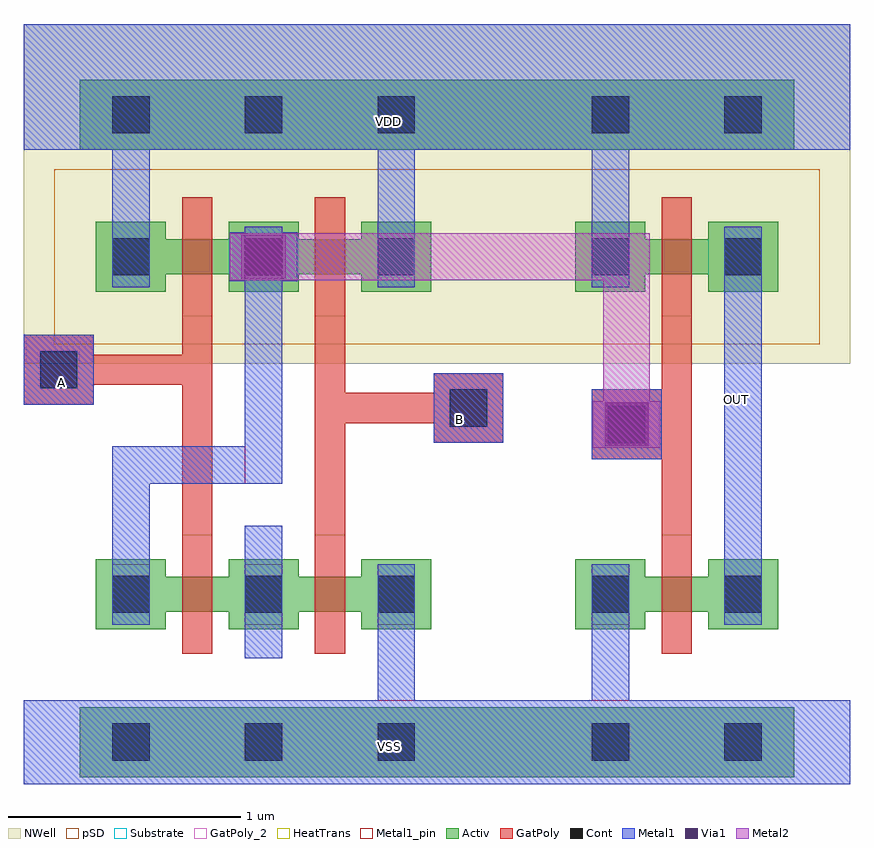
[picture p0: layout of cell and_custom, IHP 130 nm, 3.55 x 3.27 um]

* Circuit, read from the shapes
.subckt and_custom A B OUT VDD VSS
XM1 n1 A nand_custom_0/OUT VSS sg13_lv_nmos w=0.15u l=0.13u
XM2 VSS B n1 VSS sg13_lv_nmos w=0.15u l=0.13u
XM3 OUT nand_custom_0/OUT VSS VSS sg13_lv_nmos w=0.15u l=0.13u
XM4 nand_custom_0/OUT A VDD VDD sg13_lv_pmos w=0.15u l=0.13u
XM5 VDD B nand_custom_0/OUT VDD sg13_lv_pmos w=0.15u l=0.13u
XM6 OUT nand_custom_0/OUT VDD VDD sg13_lv_pmos w=0.15u l=0.13u
.ends

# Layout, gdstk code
from math import pi, radians
import gdstk
lib = gdstk.Library(unit=1e-6, precision=5e-09)
def R(c, l, rs):  # rectangles x0, y0, x1, y1
    for r in rs: c.add(gdstk.rectangle(r[:2], r[2:], *l))
def A(c, l, x, y, w, h, nx, ny, dx, dy):  # array of equal rectangles
    R(c, l, [(x+i*dx, y+j*dy, x+i*dx+w, y+j*dy+h) for i in range(nx) for j in range(ny)])
Activ = (1, 0)
GatPoly = (5, 0)
GatPoly_2 = (5, 2)
Cont = (6, 0)
Metal1 = (8, 0)
Metal1_pin = (8, 2)
Metal2 = (10, 0)
pSD = (14, 0)
Via1 = (19, 0)
NWell = (31, 0)
Substrate = (40, 0)
HeatTrans = (51, 0)

pmos = lib.new_cell('pmos')
R(pmos, Activ, [(0,0,0.3,0.3), (0.57,0,0.87,0.3), (0,0.075,0.87,0.225)])
R(pmos, GatPoly, [(0.37,-0.105,0.5,0.405), (0.37,-0.105,0.5,0.405)])
R(pmos, Cont, [(0.07,0.07,0.23,0.23), (0.64,0.07,0.8,0.23)])
R(pmos, Metal1, [(0.07,0.02,0.23,0.28), (0.07,0.02,0.23,0.28), (0.64,0.02,0.8,0.28), (0.64,0.02,0.8,0.28)])
R(pmos, pSD, [(-0.18,-0.225,1.05,0.525)])
R(pmos, NWell, [(-0.31,-0.31,1.18,0.61)])
R(pmos, Substrate, [(0.57,0,0.87,0.3)])
R(pmos, HeatTrans, [(0.37,-0.105,0.5,0.405)])
pmos.add(gdstk.Label('pmos', (0.435,0.15), layer=63, texttype=0))
pmos.add(gdstk.Label('pmos', (0.435,0.15), layer=51, texttype=0))

nmos = lib.new_cell('nmos')
R(nmos, Activ, [(0,0,0.3,0.3), (0.57,0,0.87,0.3), (0,0.075,0.87,0.225)])
R(nmos, GatPoly, [(0.37,-0.105,0.5,0.405)])
R(nmos, GatPoly_2, [(0.37,-0.105,0.5,0.405)])
R(nmos, Cont, [(0.07,0.07,0.23,0.23), (0.64,0.07,0.8,0.23)])
R(nmos, Metal1, [(0.07,0.02,0.23,0.28), (0.64,0.02,0.8,0.28)])
R(nmos, Metal1_pin, [(0.07,0.02,0.23,0.28), (0.64,0.02,0.8,0.28)])
R(nmos, HeatTrans, [(0.37,-0.105,0.5,0.405)])
nmos.add(gdstk.Label('nmos', (0.435,0.15), layer=63, texttype=0))
nmos.add(gdstk.Label('nmos', (0.435,0.15), layer=51, texttype=0))

nand_custom = lib.new_cell('nand_custom')
R(nand_custom, Activ, [(0.39,0.165,1.97,0.465), (0.39,2.86,1.97,3.16)])
R(nand_custom, GatPoly, [(0.83,0.695,0.96,2.655), (1.4,0.695,1.53,2.655), (1.91,1.6,2.21,1.9), (1.53,1.685,1.91,1.815), (0.15,1.765,0.45,2.065), (0.45,1.85,0.83,1.98)])
A(nand_custom, Cont, 0.53, 0.235, 0.16, 0.16, 3, 2, 0.57, 2.695)
R(nand_custom, Cont, [(1.98,1.67,2.14,1.83), (0.22,1.835,0.38,1.995)])
R(nand_custom, Metal1, [(0.15,0.135,2.21,0.495), (1.67,0.165,1.83,1.08), (1.1,0.675,1.26,1.245), (0.53,0.82,0.69,1.585), (0.53,1.425,1.26,1.585), (1.1,1.425,1.26,2.53), (1.91,1.6,2.21,1.9), (0.15,1.765,0.45,2.065), (0.53,2.27,0.69,3.16), (1.67,2.27,1.83,3.16), (0.15,2.86,2.21,3.4)])
R(nand_custom, Metal1_pin, [(0.15,0.135,2.21,0.495), (1.1,1.425,1.26,2.53), (1.91,1.6,2.21,1.9), (0.15,1.765,0.45,2.065), (0.15,2.86,2.21,3.4)])
R(nand_custom, pSD, [(0.15,0.135,2.21,0.495)])
R(nand_custom, NWell, [(0.15,2.86,2.21,3.4)])
nand_custom.add(gdstk.Reference(pmos, (0.46,2.25)))
nand_custom.add(gdstk.Reference(nmos, (1.03,0.8)))
nand_custom.add(gdstk.Reference(pmos, (1.9,2.25), rotation=pi, x_reflection=True))
nand_custom.add(gdstk.Reference(nmos, (1.33,0.8), rotation=pi, x_reflection=True))
nand_custom.add(gdstk.Label('VDD', (0.575,2.975), layer=8, texttype=25))
nand_custom.add(gdstk.Label('VSS', (1.705,0.28), layer=8, texttype=25))
nand_custom.add(gdstk.Label('OUT', (1.13,1.75), layer=8, texttype=25))
nand_custom.add(gdstk.Label('A', (0.28,1.855), layer=8, texttype=25))
nand_custom.add(gdstk.Label('B', (2.06,1.75), layer=8, texttype=25))

pmos_1 = lib.new_cell('pmos$1')
R(pmos_1, Activ, [(0,0,0.3,0.3), (0.57,0,0.87,0.3), (0,0.075,0.87,0.225)])
R(pmos_1, GatPoly, [(0.37,-0.105,0.5,0.405), (0.37,-0.105,0.5,0.405)])
R(pmos_1, Cont, [(0.07,0.07,0.23,0.23), (0.64,0.07,0.8,0.23)])
R(pmos_1, Metal1, [(0.07,0.02,0.23,0.28), (0.07,0.02,0.23,0.28), (0.64,0.02,0.8,0.28), (0.64,0.02,0.8,0.28)])
R(pmos_1, pSD, [(-0.18,-0.225,1.05,0.525)])
R(pmos_1, NWell, [(-0.31,-0.31,1.18,0.61)])
R(pmos_1, Substrate, [(0.57,0,0.87,0.3)])
R(pmos_1, HeatTrans, [(0.37,-0.105,0.5,0.405)])
pmos_1.add(gdstk.Label('pmos', (0.435,0.15), layer=63, texttype=0))
pmos_1.add(gdstk.Label('pmos', (0.435,0.15), layer=51, texttype=0))

nmos_1 = lib.new_cell('nmos$1')
R(nmos_1, Activ, [(0,0,0.3,0.3), (0.57,0,0.87,0.3), (0,0.075,0.87,0.225)])
R(nmos_1, GatPoly, [(0.37,-0.105,0.5,0.405)])
R(nmos_1, GatPoly_2, [(0.37,-0.105,0.5,0.405)])
R(nmos_1, Cont, [(0.07,0.07,0.23,0.23), (0.64,0.07,0.8,0.23)])
R(nmos_1, Metal1, [(0.07,0.02,0.23,0.28), (0.64,0.02,0.8,0.28)])
R(nmos_1, Metal1_pin, [(0.07,0.02,0.23,0.28), (0.64,0.02,0.8,0.28)])
R(nmos_1, HeatTrans, [(0.37,-0.105,0.5,0.405)])
nmos_1.add(gdstk.Label('nmos', (0.435,0.15), layer=63, texttype=0))
nmos_1.add(gdstk.Label('nmos', (0.435,0.15), layer=51, texttype=0))

inv = lib.new_cell('inv')
R(inv, Activ, [(0.48,-0.04,1.49,0.26), (0.48,2.655,1.49,2.955)])
R(inv, GatPoly, [(0.92,0.76,1.05,2.45), (0.62,1.325,0.92,1.625)])
R(inv, Cont, [(0.62,0.03,0.78,0.19), (1.19,0.03,1.35,0.19), (0.69,1.395,0.85,1.555), (0.62,2.725,0.78,2.885), (1.19,2.725,1.35,2.885)])
R(inv, Metal1, [(0.24,-0.07,1.73,0.29), (0.62,-0.04,0.78,0.875), (1.19,0.615,1.35,2.325), (0.62,1.325,0.92,1.625), (0.62,2.065,0.78,2.955), (0.24,2.655,1.73,3.195)])
R(inv, Metal1_pin, [(0.24,-0.07,1.73,0.29), (1.19,0.615,1.35,2.325), (0.62,1.325,0.92,1.625), (0.24,2.655,1.73,3.195)])
R(inv, pSD, [(0.24,-0.07,1.73,0.29)])
R(inv, NWell, [(0.24,2.655,1.73,3.195)])
inv.add(gdstk.Reference(pmos_1, (0.55,2.045)))
inv.add(gdstk.Reference(nmos_1, (0.55,0.595)))
inv.add(gdstk.Label('VSS', (0.64,0.09), layer=8, texttype=25))
inv.add(gdstk.Label('VDD', (0.675,2.805), layer=8, texttype=25))
inv.add(gdstk.Label('VIN', (0.73,1.475), layer=8, texttype=25))
inv.add(gdstk.Label('VOUT', (1.2,1.665), layer=8, texttype=25))

and_custom = lib.new_cell('and_custom')
R(and_custom, Activ, [(4.095,0.165,4.575,0.465), (4.095,2.86,4.575,3.16)])
R(and_custom, Metal1, [(4.72,1.575,5.01,1.785), (3.16,2.295,3.45,2.505)])
R(and_custom, Metal1_pin, [(2.275,0.135,5.825,0.495), (5.285,0.82,5.445,2.53), (3.225,1.425,3.385,2.53), (3.225,1.425,3.385,2.53), (4.715,1.53,5.015,1.83), (4.715,1.53,5.015,1.83), (4.035,1.6,4.335,1.9), (4.035,1.6,4.335,1.9), (2.275,1.765,2.575,2.065), (2.275,1.765,2.575,2.065), (2.275,2.86,5.825,3.4)])
R(and_custom, Metal2, [(4.72,1.58,5.01,1.78), (4.765,1.58,4.965,2.5), (3.16,2.3,3.45,2.5), (3.16,2.3,4.965,2.5)])
R(and_custom, pSD, [(4.205,2.025,4.465,2.775)])
R(and_custom, Via1, [(4.77,1.585,4.96,1.775), (3.21,2.305,3.4,2.495)])
and_custom.add(gdstk.Reference(nand_custom, (2.125,0)))
and_custom.add(gdstk.Reference(inv, (4.095,0.205)))
and_custom.add(gdstk.Label('A', (2.435,1.86), layer=8, texttype=25))
and_custom.add(gdstk.Label('B', (4.145,1.7), layer=8, texttype=25))
and_custom.add(gdstk.Label('VDD', (3.84,2.98), layer=8, texttype=25))
and_custom.add(gdstk.Label('VSS', (3.845,0.295), layer=8, texttype=25))
and_custom.add(gdstk.Label('OUT', (5.335,1.785), layer=8, texttype=25))

lib.write_gds('and_custom.gds')
